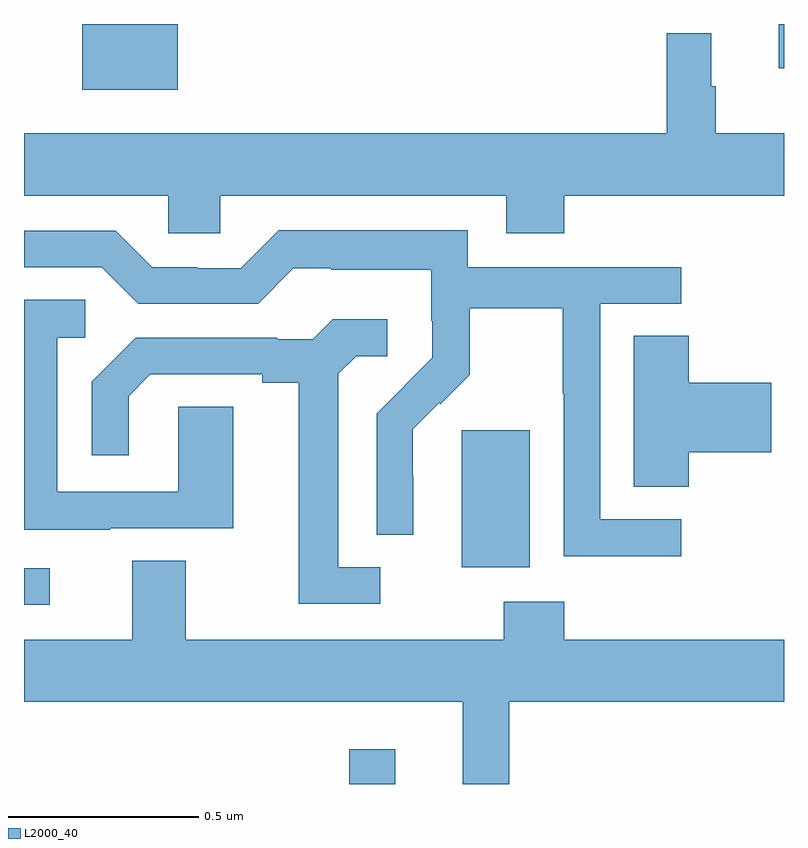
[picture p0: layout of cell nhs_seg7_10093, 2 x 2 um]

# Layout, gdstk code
import gdstk
lib = gdstk.Library(unit=1e-6, precision=1e-09)
def R(c, l, rs):  # rectangles x0, y0, x1, y1
    for r in rs: c.add(gdstk.rectangle(r[:2], r[2:], *l))
def P(c, l, *ps):  # polygons
    for p in ps: c.add(gdstk.Polygon(p, *l))
L2000_40 = (2000, 40)

nhs_seg7_10093 = lib.new_cell('nhs_seg7_10093')
R(nhs_seg7_10093, L2000_40, [(245.856,1067,245.977,1067.092), (245,1067.472,245.068,1067.568), (246.152,1067.57,246.331,1067.931), (245.153,1068.827,245.404,1069), (246.986,1068.884,247,1069)])
P(nhs_seg7_10093, L2000_40, [(246.422,1068.548),(247,1068.548),(247,1068.712),(246.82,1068.712),(246.82,1068.836),(246.808,1068.836),(246.808,1068.976),(246.691,1068.976),(246.691,1068.712),(245,1068.712),(245,1068.548),(245.379,1068.548),(245.379,1068.45),(245.517,1068.45),(245.517,1068.548),(246.269,1068.548),(246.269,1068.449),(246.422,1068.449)],
  [(246.73,1067.697),(246.516,1067.697),(246.516,1068.264),(246.73,1068.264),(246.73,1068.36),(246.168,1068.36),(246.168,1068.457),(245.671,1068.457),(245.571,1068.357),(245.456,1068.357),(245.456,1068.36),(245.337,1068.36),(245.241,1068.456),(245,1068.456),(245,1068.36),(245.205,1068.36),(245.301,1068.264),(245.616,1068.264),(245.709,1068.357),(245.809,1068.357),(245.809,1068.353),(246.072,1068.353),(246.072,1068.219),(246.074,1068.219),(246.074,1068.122),(246,1068.048),(246.001,1068.047),(245.928,1067.974),(245.928,1067.656),(246.024,1067.656),(246.024,1067.81),(246.023,1067.81),(246.023,1067.933),(246.093,1068.003),(246.096,1068),(246.173,1068.077),(246.173,1068.252),(246.418,1068.252),(246.418,1068.028),(246.42,1068.028),(246.42,1067.599),(246.73,1067.599)],
  [(245.227,1067.673),(245.551,1067.673),(245.551,1067.993),(245.406,1067.993),(245.406,1067.769),(245.088,1067.769),(245.088,1068.174),(245.161,1068.174),(245.161,1068.275),(245,1068.275),(245,1067.669),(245.227,1067.669)],
  [(245.938,1067.571),(245.827,1067.571),(245.827,1068.079),(245.874,1068.126),(245.956,1068.126),(245.956,1068.223),(245.812,1068.223),(245.76,1068.171),(245.666,1068.171),(245.666,1068.174),(245.294,1068.174),(245.178,1068.058),(245.178,1067.865),(245.275,1067.865),(245.275,1068.021),(245.332,1068.078),(245.627,1068.078),(245.627,1068.056),(245.723,1068.056),(245.723,1067.475),(245.938,1067.475)],
  [(246.749,1067.873),(246.967,1067.873),(246.967,1068.056),(246.749,1068.056),(246.749,1068.179),(246.605,1068.179),(246.605,1067.782),(246.749,1067.782)],
  [(246.277,1067.216),(247,1067.216),(247,1067.38),(246.422,1067.38),(246.422,1067.479),(246.262,1067.479),(246.262,1067.38),(245.425,1067.38),(245.425,1067.588),(245.285,1067.588),(245.285,1067.38),(245,1067.38),(245,1067.216),(246.155,1067.216),(246.155,1067),(246.277,1067)])

lib.write_gds('nhs_seg7_10093.gds')
